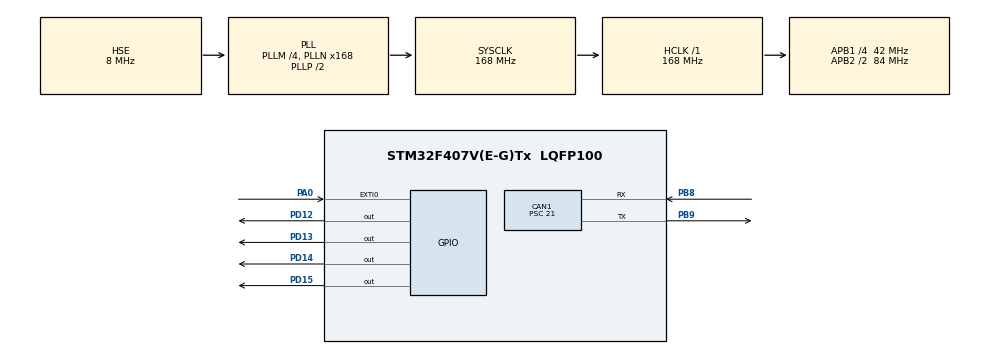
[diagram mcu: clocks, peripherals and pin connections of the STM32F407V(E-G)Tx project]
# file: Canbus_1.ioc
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CAN1.BS1=CAN_BS1_10TQ
CAN1.BS2=CAN_BS2_5TQ
CAN1.CalculateBaudRate=125000
CAN1.CalculateTimeBit=8000
CAN1.CalculateTimeQuantum=500.0
CAN1.Prescaler=21
Mcu.Family=STM32F4
Mcu.Name=STM32F407V(E-G)Tx
Mcu.Package=LQFP100
NVIC.CAN1_RX0_IRQn=true\:0\:1\:false\:false\:true\:true\:true\:true
NVIC.EXTI0_IRQn=true\:0\:0\:false\:false\:true\:true\:true\:true
NVIC.PriorityGroup=NVIC_PRIORITYGROUP_0
PA0-WKUP.Signal=GPXTI0
PB8.Mode=CAN_Activate
PB8.Signal=CAN1_RX
PB9.Mode=CAN_Activate
PB9.Signal=CAN1_TX
PD12.Signal=GPIO_Output
PD13.Signal=GPIO_Output
PD14.Signal=GPIO_Output
PD15.Signal=GPIO_Output
PH0-OSC_IN.Mode=HSE-External-Oscillator
PH0-OSC_IN.Signal=RCC_OSC_IN
PH1-OSC_OUT.Mode=HSE-External-Oscillator
PH1-OSC_OUT.Signal=RCC_OSC_OUT
ProjectManager.HeapSize=0x200
ProjectManager.StackSize=0x400
ProjectManager.TargetToolchain=STM32CubeIDE
RCC.48MHZClocksFreq_Value=84000000
RCC.AHBFreq_Value=168000000
RCC.APB1CLKDivider=RCC_HCLK_DIV4
RCC.APB1Freq_Value=42000000
RCC.APB1TimFreq_Value=84000000
RCC.APB2CLKDivider=RCC_HCLK_DIV2
RCC.APB2Freq_Value=84000000
RCC.APB2TimFreq_Value=168000000
RCC.CortexFreq_Value=168000000
RCC.HCLKFreq_Value=168000000
RCC.HSE_VALUE=8000000
RCC.HSI_VALUE=16000000
RCC.LSE_VALUE=32768
RCC.PLLM=4
RCC.PLLN=168
RCC.PLLSourceVirtual=RCC_PLLSOURCE_HSE
RCC.SYSCLKFreq_VALUE=168000000
RCC.SYSCLKSource=RCC_SYSCLKSOURCE_PLLCLK
RCC.VCOOutputFreq_Value=336000000
board=custom

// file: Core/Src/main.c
/* USER CODE BEGIN Header */
/**
  ******************************************************************************
  * @file           : main.c
  * @brief          : Main program body
  ******************************************************************************
  * @attention
  *
  * Copyright (c) 2023 STMicroelectronics.
  * All rights reserved.
  *
  * This software is licensed under terms that can be found in the LICENSE file
  * in the root directory of this software component.
  * If no LICENSE file comes with this software, it is provided AS-IS.
  *
  ******************************************************************************
  */
/* USER CODE END Header */
#include "main.h"

CAN_HandleTypeDef hcan1;

void SystemClock_Config(void);
static void MX_GPIO_Init(void);
static void MX_CAN1_Init(void);

int main(void)
{

  /* MCU Configuration--------------------------------------------------------*/

  /* Reset of all peripherals, Initializes the Flash interface and the Systick. */
  HAL_Init();

  /* Configure the system clock */
  SystemClock_Config();

  /* Initialize all configured peripherals */
  MX_GPIO_Init();
  MX_CAN1_Init();
  /* USER CODE BEGIN 2 */

    //start CAN communication
  HAL_CAN_Start(&hcan1);
    //enable interrupt
  HAL_CAN_ActivateNotification(&hcan1, CAN_IT_RX_FIFO0_MSG_PENDING);

  //set transmit parameters
 pTxHeader.DLC = 1;
 pTxHeader.IDE = CAN_ID_STD;
 pTxHeader.RTR = CAN_RTR_DATA;
 pTxHeader.StdId = 0x0155;

 //set filter parameters
 sFilterConfig.FilterActivation = ENABLE;
 sFilterConfig.FilterBank = 0;
 sFilterConfig.FilterFIFOAssignment= CAN_FilterFIFO0;
 sFilterConfig.FilterIdHigh = 0x0000;
 sFilterConfig.FilterIdLow = 0x0000;
 sFilterConfig.FilterMaskIdHigh = 0x0000;
 sFilterConfig.FilterMaskIdLow = 0x0000;
 sFilterConfig.FilterMode = CAN_FILTERMODE_IDMASK;
 sFilterConfig.FilterScale = CAN_FILTERSCALE_32BIT;

 //filtre ayarlarını hcan1 e aldzzık
 HAL_CAN_ConfigFilter(&hcan1, &sFilterConfig);

  /* USER CODE END 2 */

  /* Infinite loop */
  while (1)
  {

  }
}

void SystemClock_Config(void)
{
  RCC_OscInitTypeDef RCC_OscInitStruct = {0};
  RCC_ClkInitTypeDef RCC_ClkInitStruct = {0};

  /** Configure the main internal regulator output voltage
  */
  __HAL_RCC_PWR_CLK_ENABLE();
  __HAL_PWR_VOLTAGESCALING_CONFIG(PWR_REGULATOR_VOLTAGE_SCALE1);

  /** Initializes the RCC Oscillators according to the specified parameters
  * in the RCC_OscInitTypeDef structure.
  */
  RCC_OscInitStruct.OscillatorType = RCC_OSCILLATORTYPE_HSE;
  RCC_OscInitStruct.HSEState = RCC_HSE_ON;
  RCC_OscInitStruct.PLL.PLLState = RCC_PLL_ON;
  RCC_OscInitStruct.PLL.PLLSource = RCC_PLLSOURCE_HSE;
  RCC_OscInitStruct.PLL.PLLM = 4;
  RCC_OscInitStruct.PLL.PLLN = 168;
  RCC_OscInitStruct.PLL.PLLP = RCC_PLLP_DIV2;
  RCC_OscInitStruct.PLL.PLLQ = 4;
  if (HAL_RCC_OscConfig(&RCC_OscInitStruct) != HAL_OK)
  {
    Error_Handler();
  }

  /** Initializes the CPU, AHB and APB buses clocks
  */
  RCC_ClkInitStruct.ClockType = RCC_CLOCKTYPE_HCLK|RCC_CLOCKTYPE_SYSCLK
                              |RCC_CLOCKTYPE_PCLK1|RCC_CLOCKTYPE_PCLK2;
  RCC_ClkInitStruct.SYSCLKSource = RCC_SYSCLKSOURCE_PLLCLK;
  RCC_ClkInitStruct.AHBCLKDivider = RCC_SYSCLK_DIV1;
  RCC_ClkInitStruct.APB1CLKDivider = RCC_HCLK_DIV4;
  RCC_ClkInitStruct.APB2CLKDivider = RCC_HCLK_DIV2;

  if (HAL_RCC_ClockConfig(&RCC_ClkInitStruct, FLASH_LATENCY_5) != HAL_OK)
  {
    Error_Handler();
  }
}

static void MX_CAN1_Init(void)
{

  hcan1.Instance = CAN1;
  hcan1.Init.Prescaler = 21;
  hcan1.Init.Mode = CAN_MODE_NORMAL;
  hcan1.Init.SyncJumpWidth = CAN_SJW_1TQ;
  hcan1.Init.TimeSeg1 = CAN_BS1_10TQ;
  hcan1.Init.TimeSeg2 = CAN_BS2_5TQ;
  hcan1.Init.TimeTriggeredMode = DISABLE;
  hcan1.Init.AutoBusOff = DISABLE;
  hcan1.Init.AutoWakeUp = DISABLE;
  hcan1.Init.AutoRetransmission = DISABLE;
  hcan1.Init.ReceiveFifoLocked = DISABLE;
  hcan1.Init.TransmitFifoPriority = DISABLE;
  if (HAL_CAN_Init(&hcan1) != HAL_OK)
  {
    Error_Handler();
  }

}

static void MX_GPIO_Init(void)
{
  GPIO_InitTypeDef GPIO_InitStruct = {0};

  /* GPIO Ports Clock Enable */
  __HAL_RCC_GPIOH_CLK_ENABLE();
  __HAL_RCC_GPIOA_CLK_ENABLE();
  __HAL_RCC_GPIOD_CLK_ENABLE();
  __HAL_RCC_GPIOB_CLK_ENABLE();

  /*Configure GPIO pin Output Level */
  HAL_GPIO_WritePin(GPIOD, GPIO_PIN_12|GPIO_PIN_13|GPIO_PIN_14|GPIO_PIN_15, GPIO_PIN_RESET);

  /*Configure GPIO pin : PA0 */
  GPIO_InitStruct.Pin = GPIO_PIN_0;
  GPIO_InitStruct.Mode = GPIO_MODE_IT_RISING;
  GPIO_InitStruct.Pull = GPIO_NOPULL;
  HAL_GPIO_Init(GPIOA, &GPIO_InitStruct);

  /*Configure GPIO pins : PD12 PD13 PD14 PD15 */
  GPIO_InitStruct.Pin = GPIO_PIN_12|GPIO_PIN_13|GPIO_PIN_14|GPIO_PIN_15;
  GPIO_InitStruct.Mode = GPIO_MODE_OUTPUT_PP;
  GPIO_InitStruct.Pull = GPIO_NOPULL;
  GPIO_InitStruct.Speed = GPIO_SPEED_FREQ_LOW;
  HAL_GPIO_Init(GPIOD, &GPIO_InitStruct);

  /* EXTI interrupt init*/
  HAL_NVIC_SetPriority(EXTI0_IRQn, 0, 0);
  HAL_NVIC_EnableIRQ(EXTI0_IRQn);

}

void Error_Handler(void)
{
  __disable_irq();
  while (1)
  {
  }
}
